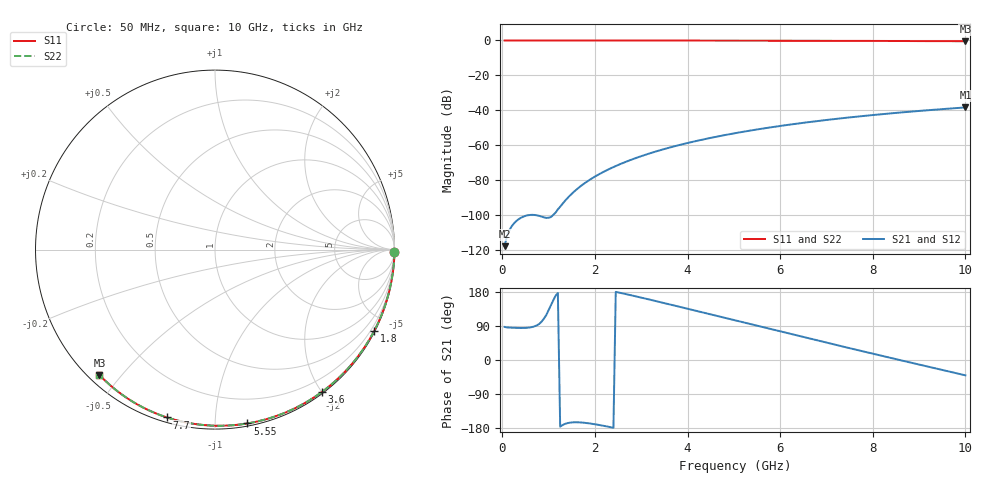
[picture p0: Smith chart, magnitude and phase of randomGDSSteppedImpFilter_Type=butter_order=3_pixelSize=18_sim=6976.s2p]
! freq	dB(S11)	phase(S11)	dB(S12)	phase(S12)
!  dB(S21)	phase(S21)	dB(S22)	phase(S22)
!S-par simulation data
#  GHz  S  DB  R 50
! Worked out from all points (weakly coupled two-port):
!   200 points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, 50 MHz to 10 GHz, reference 50 ohm
!   highest |S21| = -38.32 dB at 10 GHz (marker M1); lowest = -117.7 dB at 50 MHz (marker M2)
!   lowest |S11| = -0.4 dB at 10 GHz (marker M3), VSWR 38.93, Z = 1.53 - j21.9 ohm
!   |S11| at or under -10 dB: nowhere
!   |S22| runs from -0.4 to 0.0 dB; largest |S21 - S12| = 0
!   S11 on the Smith chart (normalised r, x): 50 MHz: open; 1.8 GHz: 0.04, -4.13; 3.6 GHz: 0.02, -2.00; 5.55 GHz: 0.02, -1.20; 7.7 GHz: 0.02, -0.75; 10 GHz: 0.03, -0.44
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0.05  -0.00 -0.8  -117.68 87.3  -117.68 87.3  -0.00 -0.8
0.9  -0.02 -13.7  -101.21 109.4  -101.21 109.4  -0.02 -13.7
1.75  -0.03 -26.5  -82.20 -165.4  -82.20 -165.4  -0.03 -26.5
1.8  -0.03 -27.2  -81.26 -166.0  -81.26 -166.0  -0.03 -27.2
1.85  -0.04 -28.0  -80.37 -166.8  -80.37 -166.8  -0.04 -28.0
1.9  -0.04 -28.7  -79.51 -167.6  -79.51 -167.6  -0.04 -28.7
2.05  -0.04 -30.9  -77.12 -170.6  -77.12 -170.6  -0.04 -30.9
2.25  -0.04 -33.8  -74.31 -175.1  -74.31 -175.1  -0.04 -33.8
2.45  -0.05 -36.8  -71.83 179.8  -71.83 179.8  -0.05 -36.8
2.65  -0.05 -39.7  -69.60 174.5  -69.60 174.5  -0.05 -39.7
3  -0.06 -44.7  -66.19 164.7  -66.19 164.7  -0.06 -44.7
3.4  -0.07 -50.4  -62.85 153.1  -62.85 153.1  -0.07 -50.4
3.6  -0.07 -53.2  -61.36 147.2  -61.36 147.2  -0.07 -53.2
4.3  -0.09 -62.9  -56.85 126.3  -56.85 126.3  -0.09 -62.9
5.05  -0.11 -72.9  -52.93 103.8  -52.93 103.8  -0.11 -72.9
5.55  -0.13 -79.4  -50.71 88.8  -50.71 88.8  -0.13 -79.4
6.1  -0.15 -86.4  -48.54 72.4  -48.54 72.4  -0.15 -86.4
6.7  -0.18 -93.9  -46.44 54.6  -46.44 54.6  -0.18 -93.9
7.7  -0.24 -106.0  -43.47 25.4  -43.47 25.4  -0.24 -106.0
8.35  -0.29 -113.7  -41.80 6.6  -41.80 6.6  -0.29 -113.7
9.15  -0.36 -122.9  -40.00 -16.3  -40.00 -16.3  -0.36 -122.9
10  -0.45 -132.7  -38.32 -40.5  -38.32 -40.5  -0.45 -132.7
